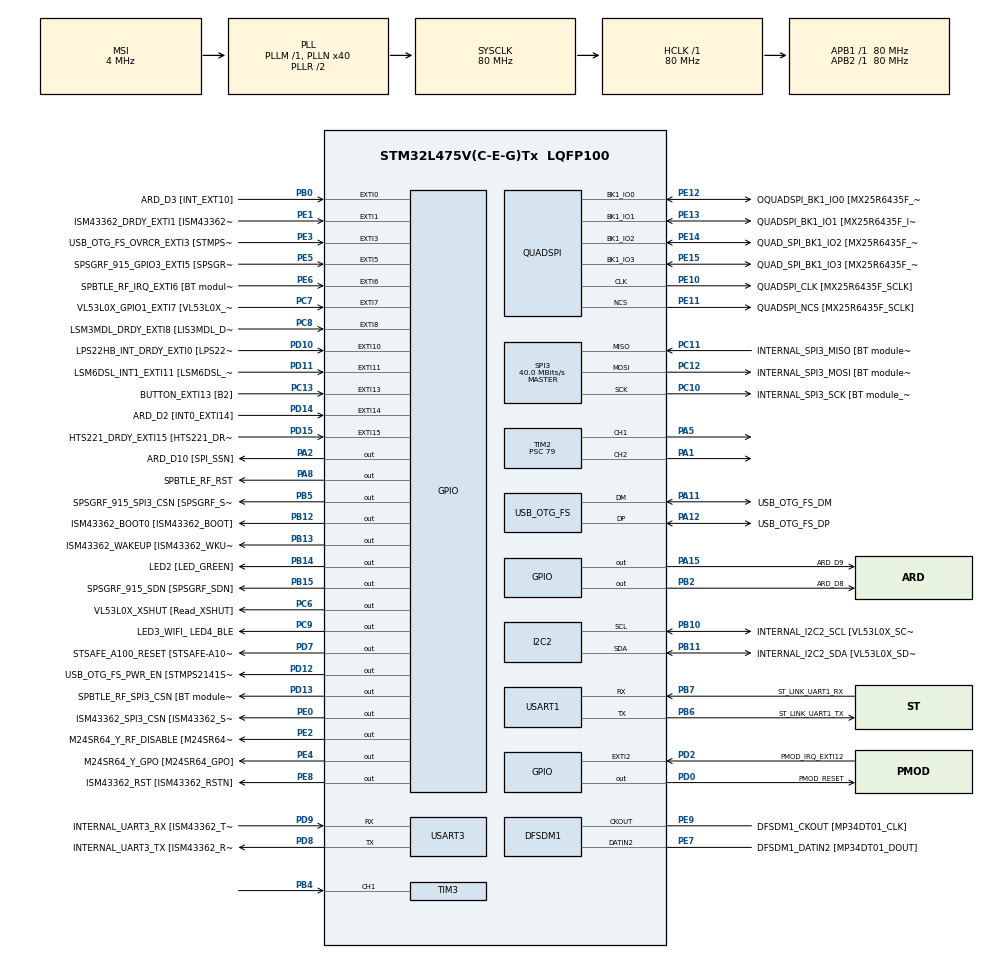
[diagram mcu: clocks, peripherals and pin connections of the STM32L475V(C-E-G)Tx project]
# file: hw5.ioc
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Mcu.Family=STM32L4
Mcu.Name=STM32L475V(C-E-G)Tx
Mcu.Package=LQFP100
NVIC.EXTI15_10_IRQn=true\:0\:0\:false\:false\:true\:true\:true\:true
NVIC.EXTI9_5_IRQn=true\:0\:0\:false\:false\:true\:true\:true\:true
NVIC.PriorityGroup=NVIC_PRIORITYGROUP_4
PA0.GPIO_Label=ARD_D1 [UART4_TX]
PA0.Signal=UART4_TX
PA1.Signal=S_TIM2_CH2
PA10.GPIO_Label=USB_OTG_FS_ID
PA10.Signal=USB_OTG_FS_ID
PA11.GPIO_Label=USB_OTG_FS_DM
PA11.Mode=Device_Only
PA11.Signal=USB_OTG_FS_DM
PA12.GPIO_Label=USB_OTG_FS_DP
PA12.Mode=Device_Only
PA12.Signal=USB_OTG_FS_DP
PA13\ (JTMS-SWDIO).GPIO_Label=SYS_JTMS_SWDIO
PA13\ (JTMS-SWDIO).Mode=Serial_Wire
PA13\ (JTMS-SWDIO).Signal=SYS_JTMS-SWDIO
PA14\ (JTCK-SWCLK).GPIO_Label=SYS_JTCK_SWCLK
PA14\ (JTCK-SWCLK).Mode=Serial_Wire
PA14\ (JTCK-SWCLK).Signal=SYS_JTCK-SWCLK
PA15\ (JTDI).GPIO_Label=ARD_D9
PA15\ (JTDI).Signal=GPIO_Output
PA2.GPIO_Label=ARD_D10 [SPI_SSN]
PA2.Signal=GPIO_Output
PA3.GPIO_Label=ARD_D4
PA3.Signal=S_TIM2_CH4
PA4.GPIO_Label=ARD_D7
PA4.Signal=ADCx_IN9
PA5.Signal=S_TIM2_CH1
PA6.GPIO_Label=ARD_D12 [SPI1_MISO]
PA6.Signal=SPI1_MISO
PA7.GPIO_Label=ARD_D11 [SPI1_MOSI]
PA7.Signal=SPI1_MOSI
PA8.GPIO_Label=SPBTLE_RF_RST
PA8.Signal=GPIO_Output
PA9.GPIO_Label=USB_OTG_FS_VBUS [STMPS2141STR_OUT]
PA9.Signal=USB_OTG_FS_VBUS
PB0.GPIO_Label=ARD_D3 [INT_EXT10]
PB0.Signal=GPXTI0
PB1.GPIO_Label=ARD_D6 [ADC1_IN6]
PB1.Signal=ADCx_IN16
PB10.GPIO_Label=INTERNAL_I2C2_SCL [VL53L0X_SCL]
PB10.GPIO_Pu=GPIO_PULLUP
PB10.Mode=I2C
PB10.Signal=I2C2_SCL
PB11.GPIO_Label=INTERNAL_I2C2_SDA [VL53L0X_SDA]
PB11.GPIO_Pu=GPIO_PULLUP
PB11.Mode=I2C
PB11.Signal=I2C2_SDA
PB12.GPIO_Label=ISM43362_BOOT0 [ISM43362_BOOT]
PB12.Signal=GPIO_Output
PB13.GPIO_Label=ISM43362_WAKEUP [ISM43362_WKUP]
PB13.Signal=GPIO_Output
PB14.GPIO_Label=LED2 [LED_GREEN]
PB14.Signal=GPIO_Output
PB15.GPIO_Label=SPSGRF_915_SDN [SPSGRF_SDN]
PB15.Signal=GPIO_Output
PB2.GPIO_Label=ARD_D8
PB2.Signal=GPIO_Output
PB3\ (JTDO-TRACESWO).GPIO_Label=SYS_JTD0_SWO
PB3\ (JTDO-TRACESWO).Signal=SYS_JTDO-SWO
PB4\ (NJTRST).Signal=S_TIM3_CH1
PB5.GPIO_Label=SPSGRF_915_SPI3_CSN [SPSGRF_SPI_CS]
PB5.PinState=GPIO_PIN_SET
PB5.Signal=GPIO_Output
PB6.GPIO_Label=ST_LINK_UART1_TX
PB6.Mode=Asynchronous
PB6.Signal=USART1_TX
PB7.GPIO_Label=ST_LINK_UART1_RX
PB7.Mode=Asynchronous
PB7.Signal=USART1_RX
PB8.GPIO_Label=ARD_D15 [I2C1_SCL]
PB8.Signal=I2C1_SCL
PB9.GPIO_Label=ARD_D14 [I2C1_SDA]
PB9.Signal=I2C1_SDA
PC0.GPIO_Label=ARD_A5 [ADC]
PC0.Signal=ADCx_IN1
PC1.GPIO_Label=ARD_A4 [ADC]
PC1.Signal=ADCx_IN2
PC10.GPIO_Label=INTERNAL_SPI3_SCK [BT module_SPI_SCLK] [ISM43362_SCK]
PC10.Mode=Full_Duplex_Master
PC10.Signal=SPI3_SCK
PC11.GPIO_Label=INTERNAL_SPI3_MISO [BT module_SPI_MISO] [ISM43362_MISO]
PC11.Mode=Full_Duplex_Master
PC11.Signal=SPI3_MISO
PC12.GPIO_Label=INTERNAL_SPI3_MOSI [BT module_SPI_MOSI] [ISM43362_MOSI]
PC12.Mode=Full_Duplex_Master
PC12.Signal=SPI3_MOSI
PC13.GPIO_Label=BUTTON_EXTI13 [B2]
PC13.GPIO_ModeDefaultEXTI=GPIO_MODE_IT_FALLING
PC13.Signal=GPXTI13
PC14-OSC32_IN\ (PC14).Mode=LSE-External-Oscillator
PC14-OSC32_IN\ (PC14).Signal=RCC_OSC32_IN
PC15-OSC32_OUT\ (PC15).Mode=LSE-External-Oscillator
PC15-OSC32_OUT\ (PC15).Signal=RCC_OSC32_OUT
PC2.GPIO_Label=ARD_A3 [ADC]
PC2.Signal=ADCx_IN3
PC3.GPIO_Label=ARD_A2 [ADC]
PC3.Signal=ADCx_IN4
PC4.GPIO_Label=ARD_A1 [ADC]
PC4.Signal=ADCx_IN13
PC5.GPIO_Label=ARD_A0 [ADC]
PC5.Signal=ADCx_IN14
PC6.GPIO_Label=VL53L0X_XSHUT [Read_XSHUT]
PC6.Signal=GPIO_Output
PC7.GPIO_Label=VL53L0X_GPIO1_EXTI7 [VL53L0X_GPIO1]
PC7.Signal=GPXTI7
PC8.GPIO_Label=LSM3MDL_DRDY_EXTI8 [LIS3MDL_DRDY]
PC8.Signal=GPXTI8
PC9.GPIO_Label=LED3_WIFI_ LED4_BLE
PC9.Signal=GPIO_Output
PD0.GPIO_Label=PMOD_RESET
PD0.Signal=GPIO_Output
PD1.GPIO_Label=PMOD_SPI2_SCK
PD1.Signal=SPI2_SCK
PD10.GPIO_Label=LPS22HB_INT_DRDY_EXTI0 [LPS22HB_INT_DRDY] 
PD10.Signal=GPXTI10
PD11.GPIO_Label=LSM6DSL_INT1_EXTI11 [LSM6DSL_INT1]
PD11.Signal=GPXTI11
PD12.GPIO_Label=USB_OTG_FS_PWR_EN [STMPS2141STR_EN]
PD12.Signal=GPIO_Output
PD13.GPIO_Label=SPBTLE_RF_SPI3_CSN [BT module_SPI_CS]
PD13.PinState=GPIO_PIN_SET
PD13.Signal=GPIO_Output
PD14.GPIO_Label=ARD_D2 [INT0_EXTI14]
PD14.Signal=GPXTI14
PD15.GPIO_Label=HTS221_DRDY_EXTI15 [HTS221_DRDY]
PD15.Signal=GPXTI15
PD2.GPIO_Label=PMOD_IRQ_EXTI12
PD2.Signal=GPXTI2
PD3.GPIO_Label=PMOD_UART2_CTS
PD3.Signal=USART2_CTS
PD4.GPIO_Label=PMOD_UART2_RTS
PD4.Signal=USART2_RTS
PD5.GPIO_Label=PMOD_UART2_TX
PD5.Signal=USART2_TX
PD6.GPIO_Label=PMOD_UART2_RX
PD6.Signal=USART2_RX
PD7.GPIO_Label=STSAFE_A100_RESET [STSAFE-A100_RESET]
PD7.Signal=GPIO_Output
PD8.GPIO_Label=INTERNAL_UART3_TX [ISM43362_RX]
PD8.Mode=Asynchronous
PD8.Signal=USART3_TX
PD9.GPIO_Label=INTERNAL_UART3_RX [ISM43362_TX]
PD9.Mode=Asynchronous
PD9.Signal=USART3_RX
PE0.GPIO_Label=ISM43362_SPI3_CSN [ISM43362_SSN]
PE0.PinState=GPIO_PIN_SET
PE0.Signal=GPIO_Output
PE1.GPIO_Label=ISM43362_DRDY_EXTI1 [ISM43362_DATARDY]
PE1.Signal=GPXTI1
PE10.GPIO_Label=QUADSPI_CLK [MX25R6435F_SCLK]
PE10.Mode=Single Bank
PE10.Signal=QUADSPI_CLK
PE11.GPIO_Label=QUADSPI_NCS [MX25R6435F_SCLK]
PE11.Mode=Single Bank
PE11.Signal=QUADSPI_NCS
PE12.GPIO_Label=OQUADSPI_BK1_IO0 [MX25R6435F_IO0]
PE12.Mode=Single Bank
PE12.Signal=QUADSPI_BK1_IO0
PE13.GPIO_Label=QUADSPI_BK1_IO1 [MX25R6435F_IO1]
PE13.Mode=Single Bank
PE13.Signal=QUADSPI_BK1_IO1
PE14.GPIO_Label=QUAD_SPI_BK1_IO2 [MX25R6435F_IO2]
PE14.Mode=Single Bank
PE14.Signal=QUADSPI_BK1_IO2
PE15.GPIO_Label=QUAD_SPI_BK1_IO3 [MX25R6435F_IO3]
PE15.Mode=Single Bank
PE15.Signal=QUADSPI_BK1_IO3
PE2.GPIO_Label=M24SR64_Y_RF_DISABLE [M24SR64_RFDIS]
PE2.Signal=GPIO_Output
PE3.GPIO_Label=USB_OTG_FS_OVRCR_EXTI3 [STMPS2141STR_FAULT]
PE3.Signal=GPXTI3
PE4.GPIO_Label=M24SR64_Y_GPO [M24SR64_GPO]
PE4.Signal=GPIO_Output
PE5.GPIO_Label=SPSGRF_915_GPIO3_EXTI5 [SPSGRF_GPIO_3]
PE5.Signal=GPXTI5
PE6.GPIO_Label=SPBTLE_RF_IRQ_EXTI6 [BT module_SPI_IRQ]
PE6.Signal=GPXTI6
PE7.GPIO_Label=DFSDM1_DATIN2 [MP34DT01_DOUT]
PE7.Signal=S_DATAIN2DFSDM1
PE8.GPIO_Label=ISM43362_RST [ISM43362_RSTN]
PE8.Signal=GPIO_Output
PE9.GPIO_Label=DFSDM1_CKOUT [MP34DT01_CLK]
PE9.Signal=S_CKOUTDFSDM1
ProjectManager.HeapSize=0x200
ProjectManager.StackSize=0x400
ProjectManager.TargetToolchain=STM32CubeIDE
QUADSPI.ClockPrescaler=2
QUADSPI.FifoThreshold=4
QUADSPI.FlashSize=23
QUADSPI.SampleShifting=QSPI_SAMPLE_SHIFTING_HALFCYCLE
RCC.ADCFreq_Value=48000000
RCC.AHBFreq_Value=80000000
RCC.APB1Freq_Value=80000000
RCC.APB1TimFreq_Value=80000000
RCC.APB2Freq_Value=80000000
RCC.APB2TimFreq_Value=80000000
RCC.CortexFreq_Value=80000000
RCC.HCLKFreq_Value=80000000
RCC.HSE_VALUE=8000000
RCC.HSI_VALUE=16000000
RCC.MSI_VALUE=4000000
RCC.PLLN=40
RCC.PLLSAI1N=24
RCC.SYSCLKFreq_VALUE=80000000
RCC.SYSCLKSource=RCC_SYSCLKSOURCE_PLLCLK
RCC.USBFreq_Value=48000000
RCC.VCOOutputFreq_Value=160000000
SH.ADCx_IN1.0=ADC1_IN1
SH.ADCx_IN13.0=ADC1_IN13
SH.ADCx_IN14.0=ADC1_IN14
SH.ADCx_IN16.0=ADC1_IN16
SH.ADCx_IN2.0=ADC1_IN2
SH.ADCx_IN3.0=ADC1_IN3
SH.ADCx_IN4.0=ADC1_IN4
SH.ADCx_IN9.0=ADC1_IN9
SH.S_CKOUTDFSDM1.0=DFSDM1_CKOUT,CKOUT
SH.S_CKOUTDFSDM1.1=DFSDM1_CKOUT,PDM_SPI_Input_from_ch12_and_Internal_Clock
SH.S_DATAIN2DFSDM1.0=DFSDM1_DATIN2,PDM_SPI_Input_from_ch12_and_Internal_Clock
SH.S_TIM2_CH1.0=TIM2_CH1,PWM Generation1 CH1
SH.S_TIM2_CH2.0=TIM2_CH2,PWM Generation2 CH2
SH.S_TIM2_CH4.0=TIM2_CH4
SH.S_TIM3_CH1.0=TIM3_CH1,Input_Capture1_from_TI1
SPI3.CalculateBaudRate=40.0 MBits/s
SPI3.Direction=SPI_DIRECTION_2LINES
SPI3.Mode=SPI_MODE_MASTER
SPI3.VirtualType=VM_MASTER
TIM2.Channel-PWM\ Generation1\ CH1=TIM_CHANNEL_1
TIM2.Channel-PWM\ Generation2\ CH2=TIM_CHANNEL_2
TIM2.Period=999
TIM2.Prescaler=79
TIM2.Pulse-PWM\ Generation1\ CH1=500
TIM3.Channel-Input_Capture1_from_TI1=TIM_CHANNEL_1
TIM3.Prescaler=79
USART1.VirtualMode-Asynchronous=VM_ASYNC
USART3.VirtualMode-Asynchronous=VM_ASYNC
USB_OTG_FS.VirtualMode=Device_Only
VP_TIM2_VS_ClockSourceINT.Mode=Internal
VP_TIM3_VS_ClockSourceINT.Mode=Internal
board=B-L475E-IOT01A2

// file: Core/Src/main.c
/* USER CODE BEGIN Header */
/**
  ******************************************************************************
  * @file           : main.c
  * @brief          : Main program body
  ******************************************************************************
  * @attention
  *
  * Copyright (c) 2026 STMicroelectronics.
  * All rights reserved.
  *
  * This software is licensed under terms that can be found in the LICENSE file
  * in the root directory of this software component.
  * If no LICENSE file comes with this software, it is provided AS-IS.
  *
  ******************************************************************************
  */
/* USER CODE END Header */
#include "main.h"

DFSDM_Channel_HandleTypeDef hdfsdm1_channel1;

I2C_HandleTypeDef hi2c2;

QSPI_HandleTypeDef hqspi;

SPI_HandleTypeDef hspi3;

TIM_HandleTypeDef htim2;
TIM_HandleTypeDef htim3;

UART_HandleTypeDef huart1;
UART_HandleTypeDef huart3;

PCD_HandleTypeDef hpcd_USB_OTG_FS;

/* USER CODE BEGIN PV */

volatile uint32_t ic_val1 = 0;
volatile uint32_t ic_val2 = 0;
volatile uint32_t diff_capture = 0;
volatile uint8_t  is_first_capture = 0;
volatile float frequency_ic = 0.0f;
/* USER CODE END PV */

void SystemClock_Config(void);
static void MX_GPIO_Init(void);
static void MX_DFSDM1_Init(void);
static void MX_I2C2_Init(void);
static void MX_QUADSPI_Init(void);
static void MX_SPI3_Init(void);
static void MX_USART1_UART_Init(void);
static void MX_USART3_UART_Init(void);
static void MX_USB_OTG_FS_PCD_Init(void);
static void MX_TIM2_Init(void);
static void MX_TIM3_Init(void);

int main(void)
{

  /* MCU Configuration--------------------------------------------------------*/

  /* Reset of all peripherals, Initializes the Flash interface and the Systick. */
  HAL_Init();

  /* Configure the system clock */
  SystemClock_Config();

  /* Initialize all configured peripherals */
  MX_GPIO_Init();
  MX_DFSDM1_Init();
  MX_I2C2_Init();
  MX_QUADSPI_Init();
  MX_SPI3_Init();
  MX_USART1_UART_Init();
  MX_USART3_UART_Init();
  MX_USB_OTG_FS_PCD_Init();
  MX_TIM2_Init();
  MX_TIM3_Init();
  /* USER CODE BEGIN 2 */
  HAL_TIM_PWM_Start(&htim2, TIM_CHANNEL_1);
  HAL_TIM_PWM_Start(&htim2, TIM_CHANNEL_2);
  HAL_TIM_IC_Start_IT(&htim3, TIM_CHANNEL_1);
  /* USER CODE END 2 */

  /* Infinite loop */
  /* USER CODE BEGIN WHILE */
  while (1)
  {
	  __HAL_TIM_SET_COMPARE(&htim2, TIM_CHANNEL_1, 200);
	  __HAL_TIM_SET_COMPARE(&htim2, TIM_CHANNEL_2, 200);
	  HAL_Delay(2000);

	  __HAL_TIM_SET_COMPARE(&htim2, TIM_CHANNEL_1, 500);
	  __HAL_TIM_SET_COMPARE(&htim2, TIM_CHANNEL_2, 500);
	  HAL_Delay(2000);

	  __HAL_TIM_SET_COMPARE(&htim2, TIM_CHANNEL_1, 800);
	  __HAL_TIM_SET_COMPARE(&htim2, TIM_CHANNEL_2, 800);
	  HAL_Delay(2000);

    /* USER CODE END WHILE */

  }
}

void SystemClock_Config(void)
{
  RCC_OscInitTypeDef RCC_OscInitStruct = {0};
  RCC_ClkInitTypeDef RCC_ClkInitStruct = {0};

  /** Configure the main internal regulator output voltage
  */
  if (HAL_PWREx_ControlVoltageScaling(PWR_REGULATOR_VOLTAGE_SCALE1) != HAL_OK)
  {
    Error_Handler();
  }

  /** Configure LSE Drive Capability
  */
  HAL_PWR_EnableBkUpAccess();
  __HAL_RCC_LSEDRIVE_CONFIG(RCC_LSEDRIVE_LOW);

  /** Initializes the RCC Oscillators according to the specified parameters
  * in the RCC_OscInitTypeDef structure.
  */
  RCC_OscInitStruct.OscillatorType = RCC_OSCILLATORTYPE_LSE|RCC_OSCILLATORTYPE_MSI;
  RCC_OscInitStruct.LSEState = RCC_LSE_ON;
  RCC_OscInitStruct.MSIState = RCC_MSI_ON;
  RCC_OscInitStruct.MSICalibrationValue = 0;
  RCC_OscInitStruct.MSIClockRange = RCC_MSIRANGE_6;
  RCC_OscInitStruct.PLL.PLLState = RCC_PLL_ON;
  RCC_OscInitStruct.PLL.PLLSource = RCC_PLLSOURCE_MSI;
  RCC_OscInitStruct.PLL.PLLM = 1;
  RCC_OscInitStruct.PLL.PLLN = 40;
  RCC_OscInitStruct.PLL.PLLP = RCC_PLLP_DIV7;
  RCC_OscInitStruct.PLL.PLLQ = RCC_PLLQ_DIV2;
  RCC_OscInitStruct.PLL.PLLR = RCC_PLLR_DIV2;
  if (HAL_RCC_OscConfig(&RCC_OscInitStruct) != HAL_OK)
  {
    Error_Handler();
  }

  /** Initializes the CPU, AHB and APB buses clocks
  */
  RCC_ClkInitStruct.ClockType = RCC_CLOCKTYPE_HCLK|RCC_CLOCKTYPE_SYSCLK
                              |RCC_CLOCKTYPE_PCLK1|RCC_CLOCKTYPE_PCLK2;
  RCC_ClkInitStruct.SYSCLKSource = RCC_SYSCLKSOURCE_PLLCLK;
  RCC_ClkInitStruct.AHBCLKDivider = RCC_SYSCLK_DIV1;
  RCC_ClkInitStruct.APB1CLKDivider = RCC_HCLK_DIV1;
  RCC_ClkInitStruct.APB2CLKDivider = RCC_HCLK_DIV1;

  if (HAL_RCC_ClockConfig(&RCC_ClkInitStruct, FLASH_LATENCY_4) != HAL_OK)
  {
    Error_Handler();
  }

  /** Enable MSI Auto calibration
  */
  HAL_RCCEx_EnableMSIPLLMode();
}

static void MX_DFSDM1_Init(void)
{

  hdfsdm1_channel1.Instance = DFSDM1_Channel1;
  hdfsdm1_channel1.Init.OutputClock.Activation = ENABLE;
  hdfsdm1_channel1.Init.OutputClock.Selection = DFSDM_CHANNEL_OUTPUT_CLOCK_SYSTEM;
  hdfsdm1_channel1.Init.OutputClock.Divider = 2;
  hdfsdm1_channel1.Init.Input.Multiplexer = DFSDM_CHANNEL_EXTERNAL_INPUTS;
  hdfsdm1_channel1.Init.Input.DataPacking = DFSDM_CHANNEL_STANDARD_MODE;
  hdfsdm1_channel1.Init.Input.Pins = DFSDM_CHANNEL_FOLLOWING_CHANNEL_PINS;
  hdfsdm1_channel1.Init.SerialInterface.Type = DFSDM_CHANNEL_SPI_RISING;
  hdfsdm1_channel1.Init.SerialInterface.SpiClock = DFSDM_CHANNEL_SPI_CLOCK_INTERNAL;
  hdfsdm1_channel1.Init.Awd.FilterOrder = DFSDM_CHANNEL_FASTSINC_ORDER;
  hdfsdm1_channel1.Init.Awd.Oversampling = 1;
  hdfsdm1_channel1.Init.Offset = 0;
  hdfsdm1_channel1.Init.RightBitShift = 0x00;
  if (HAL_DFSDM_ChannelInit(&hdfsdm1_channel1) != HAL_OK)
  {
    Error_Handler();
  }

}

static void MX_I2C2_Init(void)
{

  hi2c2.Instance = I2C2;
  hi2c2.Init.Timing = 0x00000E14;
  hi2c2.Init.OwnAddress1 = 0;
  hi2c2.Init.AddressingMode = I2C_ADDRESSINGMODE_7BIT;
  hi2c2.Init.DualAddressMode = I2C_DUALADDRESS_DISABLE;
  hi2c2.Init.OwnAddress2 = 0;
  hi2c2.Init.OwnAddress2Masks = I2C_OA2_NOMASK;
  hi2c2.Init.GeneralCallMode = I2C_GENERALCALL_DISABLE;
  hi2c2.Init.NoStretchMode = I2C_NOSTRETCH_DISABLE;
  if (HAL_I2C_Init(&hi2c2) != HAL_OK)
  {
    Error_Handler();
  }

  /** Configure Analogue filter
  */
  if (HAL_I2CEx_ConfigAnalogFilter(&hi2c2, I2C_ANALOGFILTER_ENABLE) != HAL_OK)
  {
    Error_Handler();
  }

  /** Configure Digital filter
  */
  if (HAL_I2CEx_ConfigDigitalFilter(&hi2c2, 0) != HAL_OK)
  {
    Error_Handler();
  }

}

static void MX_QUADSPI_Init(void)
{

  /* QUADSPI parameter configuration*/
  hqspi.Instance = QUADSPI;
  hqspi.Init.ClockPrescaler = 2;
  hqspi.Init.FifoThreshold = 4;
  hqspi.Init.SampleShifting = QSPI_SAMPLE_SHIFTING_HALFCYCLE;
  hqspi.Init.FlashSize = 23;
  hqspi.Init.ChipSelectHighTime = QSPI_CS_HIGH_TIME_1_CYCLE;
  hqspi.Init.ClockMode = QSPI_CLOCK_MODE_0;
  if (HAL_QSPI_Init(&hqspi) != HAL_OK)
  {
    Error_Handler();
  }

}

static void MX_SPI3_Init(void)
{

  /* SPI3 parameter configuration*/
  hspi3.Instance = SPI3;
  hspi3.Init.Mode = SPI_MODE_MASTER;
  hspi3.Init.Direction = SPI_DIRECTION_2LINES;
  hspi3.Init.DataSize = SPI_DATASIZE_4BIT;
  hspi3.Init.CLKPolarity = SPI_POLARITY_LOW;
  hspi3.Init.CLKPhase = SPI_PHASE_1EDGE;
  hspi3.Init.NSS = SPI_NSS_SOFT;
  hspi3.Init.BaudRatePrescaler = SPI_BAUDRATEPRESCALER_2;
  hspi3.Init.FirstBit = SPI_FIRSTBIT_MSB;
  hspi3.Init.TIMode = SPI_TIMODE_DISABLE;
  hspi3.Init.CRCCalculation = SPI_CRCCALCULATION_DISABLE;
  hspi3.Init.CRCPolynomial = 7;
  hspi3.Init.CRCLength = SPI_CRC_LENGTH_DATASIZE;
  hspi3.Init.NSSPMode = SPI_NSS_PULSE_ENABLE;
  if (HAL_SPI_Init(&hspi3) != HAL_OK)
  {
    Error_Handler();
  }

}

static void MX_TIM2_Init(void)
{

  TIM_ClockConfigTypeDef sClockSourceConfig = {0};
  TIM_MasterConfigTypeDef sMasterConfig = {0};
  TIM_OC_InitTypeDef sConfigOC = {0};

  htim2.Instance = TIM2;
  htim2.Init.Prescaler = 79;
  htim2.Init.CounterMode = TIM_COUNTERMODE_UP;
  htim2.Init.Period = 999;
  htim2.Init.ClockDivision = TIM_CLOCKDIVISION_DIV1;
  htim2.Init.AutoReloadPreload = TIM_AUTORELOAD_PRELOAD_DISABLE;
  if (HAL_TIM_Base_Init(&htim2) != HAL_OK)
  {
    Error_Handler();
  }
  sClockSourceConfig.ClockSource = TIM_CLOCKSOURCE_INTERNAL;
  if (HAL_TIM_ConfigClockSource(&htim2, &sClockSourceConfig) != HAL_OK)
  {
    Error_Handler();
  }
  if (HAL_TIM_PWM_Init(&htim2) != HAL_OK)
  {
    Error_Handler();
  }
  sMasterConfig.MasterOutputTrigger = TIM_TRGO_RESET;
  sMasterConfig.MasterSlaveMode = TIM_MASTERSLAVEMODE_DISABLE;
  if (HAL_TIMEx_MasterConfigSynchronization(&htim2, &sMasterConfig) != HAL_OK)
  {
    Error_Handler();
  }
  sConfigOC.OCMode = TIM_OCMODE_PWM1;
  sConfigOC.Pulse = 500;
  sConfigOC.OCPolarity = TIM_OCPOLARITY_HIGH;
  sConfigOC.OCFastMode = TIM_OCFAST_DISABLE;
  if (HAL_TIM_PWM_ConfigChannel(&htim2, &sConfigOC, TIM_CHANNEL_1) != HAL_OK)
  {
    Error_Handler();
  }
  sConfigOC.Pulse = 0;
  if (HAL_TIM_PWM_ConfigChannel(&htim2, &sConfigOC, TIM_CHANNEL_2) != HAL_OK)
  {
    Error_Handler();
  }
  HAL_TIM_MspPostInit(&htim2);

}

static void MX_TIM3_Init(void)
{

  TIM_ClockConfigTypeDef sClockSourceConfig = {0};
  TIM_MasterConfigTypeDef sMasterConfig = {0};
  TIM_IC_InitTypeDef sConfigIC = {0};

  htim3.Instance = TIM3;
  htim3.Init.Prescaler = 79;
  htim3.Init.CounterMode = TIM_COUNTERMODE_UP;
  htim3.Init.Period = 65535;
  htim3.Init.ClockDivision = TIM_CLOCKDIVISION_DIV1;
  htim3.Init.AutoReloadPreload = TIM_AUTORELOAD_PRELOAD_DISABLE;
  if (HAL_TIM_Base_Init(&htim3) != HAL_OK)
  {
    Error_Handler();
  }
  sClockSourceConfig.ClockSource = TIM_CLOCKSOURCE_INTERNAL;
  if (HAL_TIM_ConfigClockSource(&htim3, &sClockSourceConfig) != HAL_OK)
  {
    Error_Handler();
  }
  if (HAL_TIM_IC_Init(&htim3) != HAL_OK)
  {
    Error_Handler();
  }
  sMasterConfig.MasterOutputTrigger = TIM_TRGO_RESET;
  sMasterConfig.MasterSlaveMode = TIM_MASTERSLAVEMODE_DISABLE;
  if (HAL_TIMEx_MasterConfigSynchronization(&htim3, &sMasterConfig) != HAL_OK)
  {
    Error_Handler();
  }
  sConfigIC.ICPolarity = TIM_INPUTCHANNELPOLARITY_RISING;
  sConfigIC.ICSelection = TIM_ICSELECTION_DIRECTTI;
  sConfigIC.ICPrescaler = TIM_ICPSC_DIV1;
  sConfigIC.ICFilter = 0;
  if (HAL_TIM_IC_ConfigChannel(&htim3, &sConfigIC, TIM_CHANNEL_1) != HAL_OK)
  {
    Error_Handler();
  }

}

static void MX_USART1_UART_Init(void)
{

  huart1.Instance = USART1;
  huart1.Init.BaudRate = 115200;
  huart1.Init.WordLength = UART_WORDLENGTH_8B;
  huart1.Init.StopBits = UART_STOPBITS_1;
  huart1.Init.Parity = UART_PARITY_NONE;
  huart1.Init.Mode = UART_MODE_TX_RX;
  huart1.Init.HwFlowCtl = UART_HWCONTROL_NONE;
  huart1.Init.OverSampling = UART_OVERSAMPLING_16;
  huart1.Init.OneBitSampling = UART_ONE_BIT_SAMPLE_DISABLE;
  huart1.AdvancedInit.AdvFeatureInit = UART_ADVFEATURE_NO_INIT;
  if (HAL_UART_Init(&huart1) != HAL_OK)
  {
    Error_Handler();
  }

}

static void MX_USART3_UART_Init(void)
{

  huart3.Instance = USART3;
  huart3.Init.BaudRate = 115200;
  huart3.Init.WordLength = UART_WORDLENGTH_8B;
  huart3.Init.StopBits = UART_STOPBITS_1;
  huart3.Init.Parity = UART_PARITY_NONE;
  huart3.Init.Mode = UART_MODE_TX_RX;
  huart3.Init.HwFlowCtl = UART_HWCONTROL_NONE;
  huart3.Init.OverSampling = UART_OVERSAMPLING_16;
  huart3.Init.OneBitSampling = UART_ONE_BIT_SAMPLE_DISABLE;
  huart3.AdvancedInit.AdvFeatureInit = UART_ADVFEATURE_NO_INIT;
  if (HAL_UART_Init(&huart3) != HAL_OK)
  {
    Error_Handler();
  }

}

static void MX_USB_OTG_FS_PCD_Init(void)
{

  hpcd_USB_OTG_FS.Instance = USB_OTG_FS;
  hpcd_USB_OTG_FS.Init.dev_endpoints = 6;
  hpcd_USB_OTG_FS.Init.speed = PCD_SPEED_FULL;
  hpcd_USB_OTG_FS.Init.phy_itface = PCD_PHY_EMBEDDED;
  hpcd_USB_OTG_FS.Init.Sof_enable = DISABLE;
  hpcd_USB_OTG_FS.Init.low_power_enable = DISABLE;
  hpcd_USB_OTG_FS.Init.lpm_enable = DISABLE;
  hpcd_USB_OTG_FS.Init.battery_charging_enable = DISABLE;
  hpcd_USB_OTG_FS.Init.use_dedicated_ep1 = DISABLE;
  hpcd_USB_OTG_FS.Init.vbus_sensing_enable = DISABLE;
  if (HAL_PCD_Init(&hpcd_USB_OTG_FS) != HAL_OK)
  {
    Error_Handler();
  }

}

static void MX_GPIO_Init(void)
{
  GPIO_InitTypeDef GPIO_InitStruct = {0};

  /* GPIO Ports Clock Enable */
  __HAL_RCC_GPIOE_CLK_ENABLE();
  __HAL_RCC_GPIOC_CLK_ENABLE();
  __HAL_RCC_GPIOA_CLK_ENABLE();
  __HAL_RCC_GPIOB_CLK_ENABLE();
  __HAL_RCC_GPIOD_CLK_ENABLE();

  /*Configure GPIO pin Output Level */
  HAL_GPIO_WritePin(GPIOE, M24SR64_Y_RF_DISABLE_Pin|M24SR64_Y_GPO_Pin|ISM43362_RST_Pin, GPIO_PIN_RESET);

  /*Configure GPIO pin Output Level */
  HAL_GPIO_WritePin(GPIOA, ARD_D10_Pin|SPBTLE_RF_RST_Pin|ARD_D9_Pin, GPIO_PIN_RESET);

  /*Configure GPIO pin Output Level */
  HAL_GPIO_WritePin(GPIOB, ARD_D8_Pin|ISM43362_BOOT0_Pin|ISM43362_WAKEUP_Pin|LED2_Pin
                          |SPSGRF_915_SDN_Pin, GPIO_PIN_RESET);

  /*Configure GPIO pin Output Level */
  HAL_GPIO_WritePin(GPIOD, USB_OTG_FS_PWR_EN_Pin|PMOD_RESET_Pin|STSAFE_A100_RESET_Pin, GPIO_PIN_RESET);

  /*Configure GPIO pin Output Level */
  HAL_GPIO_WritePin(SPBTLE_RF_SPI3_CSN_GPIO_Port, SPBTLE_RF_SPI3_CSN_Pin, GPIO_PIN_SET);

  /*Configure GPIO pin Output Level */
  HAL_GPIO_WritePin(GPIOC, VL53L0X_XSHUT_Pin|LED3_WIFI__LED4_BLE_Pin, GPIO_PIN_RESET);

  /*Configure GPIO pin Output Level */
  HAL_GPIO_WritePin(SPSGRF_915_SPI3_CSN_GPIO_Port, SPSGRF_915_SPI3_CSN_Pin, GPIO_PIN_SET);

  /*Configure GPIO pin Output Level */
  HAL_GPIO_WritePin(ISM43362_SPI3_CSN_GPIO_Port, ISM43362_SPI3_CSN_Pin, GPIO_PIN_SET);

  /*Configure GPIO pins : M24SR64_Y_RF_DISABLE_Pin M24SR64_Y_GPO_Pin ISM43362_RST_Pin ISM43362_SPI3_CSN_Pin */
  GPIO_InitStruct.Pin = M24SR64_Y_RF_DISABLE_Pin|M24SR64_Y_GPO_Pin|ISM43362_RST_Pin|ISM43362_SPI3_CSN_Pin;
  GPIO_InitStruct.Mode = GPIO_MODE_OUTPUT_PP;
  GPIO_InitStruct.Pull = GPIO_NOPULL;
  GPIO_InitStruct.Speed = GPIO_SPEED_FREQ_LOW;
  HAL_GPIO_Init(GPIOE, &GPIO_InitStruct);

  /*Configure GPIO pins : USB_OTG_FS_OVRCR_EXTI3_Pin SPSGRF_915_GPIO3_EXTI5_Pin SPBTLE_RF_IRQ_EXTI6_Pin ISM43362_DRDY_EXTI1_Pin */
  GPIO_InitStruct.Pin = USB_OTG_FS_OVRCR_EXTI3_Pin|SPSGRF_915_GPIO3_EXTI5_Pin|SPBTLE_RF_IRQ_EXTI6_Pin|ISM43362_DRDY_EXTI1_Pin;
  GPIO_InitStruct.Mode = GPIO_MODE_IT_RISING;
  GPIO_InitStruct.Pull = GPIO_NOPULL;
  HAL_GPIO_Init(GPIOE, &GPIO_InitStruct);

  /*Configure GPIO pin : BUTTON_EXTI13_Pin */
  GPIO_InitStruct.Pin = BUTTON_EXTI13_Pin;
  GPIO_InitStruct.Mode = GPIO_MODE_IT_FALLING;
  GPIO_InitStruct.Pull = GPIO_NOPULL;
  HAL_GPIO_Init(BUTTON_EXTI13_GPIO_Port, &GPIO_InitStruct);

  /*Configure GPIO pins : ARD_A5_Pin ARD_A4_Pin ARD_A3_Pin ARD_A2_Pin
                           ARD_A1_Pin ARD_A0_Pin */
  GPIO_InitStruct.Pin = ARD_A5_Pin|ARD_A4_Pin|ARD_A3_Pin|ARD_A2_Pin
                          |ARD_A1_Pin|ARD_A0_Pin;
  GPIO_InitStruct.Mode = GPIO_MODE_ANALOG_ADC_CONTROL;
  GPIO_InitStruct.Pull = GPIO_NOPULL;
  HAL_GPIO_Init(GPIOC, &GPIO_InitStruct);

  /*Configure GPIO pin : ARD_D1_Pin */
  GPIO_InitStruct.Pin = ARD_D1_Pin;
  GPIO_InitStruct.Mode = GPIO_MODE_AF_PP;
  GPIO_InitStruct.Pull = GPIO_NOPULL;
  GPIO_InitStruct.Speed = GPIO_SPEED_FREQ_VERY_HIGH;
  GPIO_InitStruct.Alternate = GPIO_AF8_UART4;
  HAL_GPIO_Init(ARD_D1_GPIO_Port, &GPIO_InitStruct);

  /*Configure GPIO pins : ARD_D10_Pin SPBTLE_RF_RST_Pin ARD_D9_Pin */
  GPIO_InitStruct.Pin = ARD_D10_Pin|SPBTLE_RF_RST_Pin|ARD_D9_Pin;
  GPIO_InitStruct.Mode = GPIO_MODE_OUTPUT_PP;
  GPIO_InitStruct.Pull = GPIO_NOPULL;
  GPIO_InitStruct.Speed = GPIO_SPEED_FREQ_LOW;
  HAL_GPIO_Init(GPIOA, &GPIO_InitStruct);

  /*Configure GPIO pin : ARD_D7_Pin */
  GPIO_InitStruct.Pin = ARD_D7_Pin;
  GPIO_InitStruct.Mode = GPIO_MODE_ANALOG_ADC_CONTROL;
  GPIO_InitStruct.Pull = GPIO_NOPULL;
  HAL_GPIO_Init(ARD_D7_GPIO_Port, &GPIO_InitStruct);

  /*Configure GPIO pins : ARD_D12_Pin ARD_D11_Pin */
  GPIO_InitStruct.Pin = ARD_D12_Pin|ARD_D11_Pin;
  GPIO_InitStruct.Mode = GPIO_MODE_AF_PP;
  GPIO_InitStruct.Pull = GPIO_NOPULL;
  GPIO_InitStruct.Speed = GPIO_SPEED_FREQ_VERY_HIGH;
  GPIO_InitStruct.Alternate = GPIO_AF5_SPI1;
  HAL_GPIO_Init(GPIOA, &GPIO_InitStruct);

  /*Configure GPIO pin : ARD_D3_Pin */
  GPIO_InitStruct.Pin = ARD_D3_Pin;
  GPIO_InitStruct.Mode = GPIO_MODE_IT_RISING;
  GPIO_InitStruct.Pull = GPIO_NOPULL;
  HAL_GPIO_Init(ARD_D3_GPIO_Port, &GPIO_InitStruct);

  /*Configure GPIO pin : ARD_D6_Pin */
  GPIO_InitStruct.Pin = ARD_D6_Pin;
  GPIO_InitStruct.Mode = GPIO_MODE_ANALOG_ADC_CONTROL;
  GPIO_InitStruct.Pull = GPIO_NOPULL;
  HAL_GPIO_Init(ARD_D6_GPIO_Port, &GPIO_InitStruct);

  /*Configure GPIO pins : ARD_D8_Pin ISM43362_BOOT0_Pin ISM43362_WAKEUP_Pin LED2_Pin
                           SPSGRF_915_SDN_Pin SPSGRF_915_SPI3_CSN_Pin */
  GPIO_InitStruct.Pin = ARD_D8_Pin|ISM43362_BOOT0_Pin|ISM43362_WAKEUP_Pin|LED2_Pin
                          |SPSGRF_915_SDN_Pin|SPSGRF_915_SPI3_CSN_Pin;
  GPIO_InitStruct.Mode = GPIO_MODE_OUTPUT_PP;
  GPIO_InitStruct.Pull = GPIO_NOPULL;
  GPIO_InitStruct.Speed = GPIO_SPEED_FREQ_LOW;
  HAL_GPIO_Init(GPIOB, &GPIO_InitStruct);

  /*Configure GPIO pins : LPS22HB_INT_DRDY_EXTI0_Pin LSM6DSL_INT1_EXTI11_Pin ARD_D2_Pin HTS221_DRDY_EXTI15_Pin
                           PMOD_IRQ_EXTI12_Pin */
  GPIO_InitStruct.Pin = LPS22HB_INT_DRDY_EXTI0_Pin|LSM6DSL_INT1_EXTI11_Pin|ARD_D2_Pin|HTS221_DRDY_EXTI15_Pin
                          |PMOD_IRQ_EXTI12_Pin;
  GPIO_InitStruct.Mode = GPIO_MODE_IT_RISING;
  GPIO_InitStruct.Pull = GPIO_NOPULL;
  HAL_GPIO_Init(GPIOD, &GPIO_InitStruct);

  /*Configure GPIO pins : USB_OTG_FS_PWR_EN_Pin SPBTLE_RF_SPI3_CSN_Pin PMOD_RESET_Pin STSAFE_A100_RESET_Pin */
  GPIO_InitStruct.Pin = USB_OTG_FS_PWR_EN_Pin|SPBTLE_RF_SPI3_CSN_Pin|PMOD_RESET_Pin|STSAFE_A100_RESET_Pin;
  GPIO_InitStruct.Mode = GPIO_MODE_OUTPUT_PP;
  GPIO_InitStruct.Pull = GPIO_NOPULL;
  GPIO_InitStruct.Speed = GPIO_SPEED_FREQ_LOW;
  HAL_GPIO_Init(GPIOD, &GPIO_InitStruct);

  /*Configure GPIO pins : VL53L0X_XSHUT_Pin LED3_WIFI__LED4_BLE_Pin */
  GPIO_InitStruct.Pin = VL53L0X_XSHUT_Pin|LED3_WIFI__LED4_BLE_Pin;
  GPIO_InitStruct.Mode = GPIO_MODE_OUTPUT_PP;
  GPIO_InitStruct.Pull = GPIO_NOPULL;
  GPIO_InitStruct.Speed = GPIO_SPEED_FREQ_LOW;
  HAL_GPIO_Init(GPIOC, &GPIO_InitStruct);

  /*Configure GPIO pins : VL53L0X_GPIO1_EXTI7_Pin LSM3MDL_DRDY_EXTI8_Pin */
  GPIO_InitStruct.Pin = VL53L0X_GPIO1_EXTI7_Pin|LSM3MDL_DRDY_EXTI8_Pin;
  GPIO_InitStruct.Mode = GPIO_MODE_IT_RISING;
  GPIO_InitStruct.Pull = GPIO_NOPULL;
  HAL_GPIO_Init(GPIOC, &GPIO_InitStruct);

  /*Configure GPIO pin : PMOD_SPI2_SCK_Pin */
  GPIO_InitStruct.Pin = PMOD_SPI2_SCK_Pin;
  GPIO_InitStruct.Mode = GPIO_MODE_AF_PP;
  GPIO_InitStruct.Pull = GPIO_NOPULL;
  GPIO_InitStruct.Speed = GPIO_SPEED_FREQ_VERY_HIGH;
  GPIO_InitStruct.Alternate = GPIO_AF5_SPI2;
  HAL_GPIO_Init(PMOD_SPI2_SCK_GPIO_Port, &GPIO_InitStruct);

  /*Configure GPIO pins : PMOD_UART2_CTS_Pin PMOD_UART2_RTS_Pin PMOD_UART2_TX_Pin PMOD_UART2_RX_Pin */
  GPIO_InitStruct.Pin = PMOD_UART2_CTS_Pin|PMOD_UART2_RTS_Pin|PMOD_UART2_TX_Pin|PMOD_UART2_RX_Pin;
  GPIO_InitStruct.Mode = GPIO_MODE_AF_PP;
  GPIO_InitStruct.Pull = GPIO_NOPULL;
  GPIO_InitStruct.Speed = GPIO_SPEED_FREQ_VERY_HIGH;
  GPIO_InitStruct.Alternate = GPIO_AF7_USART2;
  HAL_GPIO_Init(GPIOD, &GPIO_InitStruct);

  /*Configure GPIO pins : ARD_D15_Pin ARD_D14_Pin */
  GPIO_InitStruct.Pin = ARD_D15_Pin|ARD_D14_Pin;
  GPIO_InitStruct.Mode = GPIO_MODE_AF_OD;
  GPIO_InitStruct.Pull = GPIO_NOPULL;
  GPIO_InitStruct.Speed = GPIO_SPEED_FREQ_VERY_HIGH;
  GPIO_InitStruct.Alternate = GPIO_AF4_I2C1;
  HAL_GPIO_Init(GPIOB, &GPIO_InitStruct);

  /* EXTI interrupt init*/
  HAL_NVIC_SetPriority(EXTI9_5_IRQn, 0, 0);
  HAL_NVIC_EnableIRQ(EXTI9_5_IRQn);

  HAL_NVIC_SetPriority(EXTI15_10_IRQn, 0, 0);
  HAL_NVIC_EnableIRQ(EXTI15_10_IRQn);

}

/* USER CODE BEGIN 4 */
void HAL_TIM_IC_CaptureCallback(TIM_HandleTypeDef *htim)
{
    if (htim->Instance == TIM3 && htim->Channel == HAL_TIM_ACTIVE_CHANNEL_1)
    {
        if (is_first_capture == 0)
        {
            ic_val1 = HAL_TIM_ReadCapturedValue(htim, TIM_CHANNEL_1);
            is_first_capture = 1;
        }
        else
        {
            ic_val2 = HAL_TIM_ReadCapturedValue(htim, TIM_CHANNEL_1);

            if (ic_val2 >= ic_val1)
                diff_capture = ic_val2 - ic_val1;
            else
                diff_capture = (65535 - ic_val1 + ic_val2 + 1);

            if (diff_capture != 0)
                frequency_ic = 1000000.0f / diff_capture;   // timer tick = 1 us

            is_first_capture = 0;
        }
    }
}
/* USER CODE END 4 */

void Error_Handler(void)
{
  __disable_irq();
  while (1)
  {
  }
}
